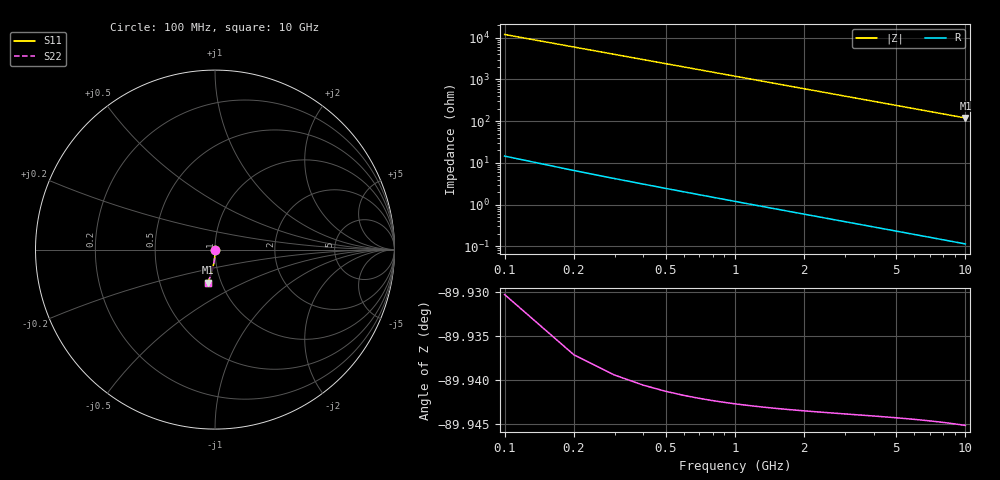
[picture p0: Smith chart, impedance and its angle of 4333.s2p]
# Hz S RI R 50.00
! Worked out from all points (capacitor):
!   100 points, 100 MHz to 10 GHz, reference 50 ohm
!   read as one part in shunt: C = 133 fF near 100 MHz
!   lowest |Z| = 120 ohm at 10 GHz (marker M1)
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1e8  0.000127 -0.00193  0.9999 -0.00224  0.9999 -0.00224  0.000127 -0.00193
2e8  0.000113 -0.00386  0.9998 -0.00448  0.9998 -0.00448  0.000113 -0.00386
3e8  9.01e-05 -0.00579  0.9998 -0.00671  0.9998 -0.00671  9.01e-05 -0.00579
4e8  5.84e-05 -0.00772  0.9998 -0.00895  0.9998 -0.00895  5.84e-05 -0.00772
5e8  1.8e-05 -0.00965  0.9997 -0.0112  0.9997 -0.0112  1.8e-05 -0.00965
6e8  -3.11e-05 -0.0116  0.9997 -0.0134  0.9997 -0.0134  -3.11e-05 -0.0116
7e8  -8.89e-05 -0.0135  0.9996 -0.0157  0.9996 -0.0157  -8.89e-05 -0.0135
8e8  -0.000155 -0.0154  0.9996 -0.0179  0.9996 -0.0179  -0.000155 -0.0154
9e8  -0.00023 -0.0174  0.9995 -0.0201  0.9995 -0.0201  -0.00023 -0.0174
1.1e9  -0.000407 -0.0212  0.9993 -0.0246  0.9993 -0.0246  -0.000407 -0.0212
1.4e9  -0.000735 -0.027  0.999 -0.0313  0.999 -0.0313  -0.000735 -0.027
1.8e9  -0.00129 -0.0347  0.9984 -0.0402  0.9984 -0.0402  -0.00129 -0.0347
2.1e9  -0.0018 -0.0405  0.9979 -0.0469  0.9979 -0.0469  -0.0018 -0.0405
2.5e9  -0.0026 -0.0481  0.9971 -0.0558  0.9971 -0.0558  -0.0026 -0.0481
2.9e9  -0.00354 -0.0558  0.9961 -0.0647  0.9961 -0.0647  -0.00354 -0.0558
3.4e9  -0.0049 -0.0653  0.9948 -0.0758  0.9948 -0.0758  -0.0049 -0.0653
4.2e9  -0.00752 -0.0805  0.9921 -0.0934  0.9921 -0.0934  -0.00752 -0.0805
5.1e9  -0.0111 -0.0974  0.9885 -0.1131  0.9885 -0.1131  -0.0111 -0.0974
5.9e9  -0.0148 -0.1122  0.9847 -0.1304  0.9847 -0.1304  -0.0148 -0.1122
6.7e9  -0.0191 -0.1269  0.9804 -0.1476  0.9804 -0.1476  -0.0191 -0.1269
8.4e9  -0.0298 -0.1574  0.9696 -0.1833  0.9696 -0.1833  -0.0298 -0.1574
1e10  -0.0418 -0.185  0.9574 -0.2159  0.9574 -0.2159  -0.0418 -0.185
